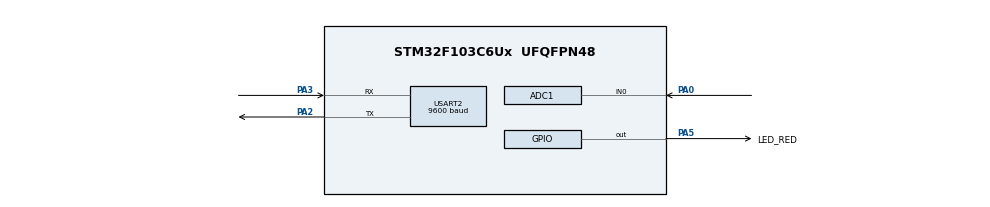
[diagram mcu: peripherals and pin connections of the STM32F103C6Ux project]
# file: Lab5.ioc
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ADC1.Channel-0\#ChannelRegularConversion=ADC_CHANNEL_0
ADC1.ContinuousConvMode=ENABLE
ADC1.NbrOfConversionFlag=1
ADC1.Rank-0\#ChannelRegularConversion=1
ADC1.SamplingTime-0\#ChannelRegularConversion=ADC_SAMPLETIME_1CYCLE_5
ADC1.master=1
Mcu.Family=STM32F1
Mcu.Name=STM32F103C6Ux
Mcu.Package=UFQFPN48
NVIC.PriorityGroup=NVIC_PRIORITYGROUP_4
NVIC.TIM2_IRQn=true\:0\:0\:false\:false\:true\:true\:true
NVIC.USART2_IRQn=true\:0\:0\:false\:false\:true\:true\:true
PA0-WKUP.Signal=ADCx_IN0
PA2.Mode=Asynchronous
PA2.Signal=USART2_TX
PA3.Mode=Asynchronous
PA3.Signal=USART2_RX
PA5.GPIO_Label=LED_RED
PA5.Signal=GPIO_Output
ProjectManager.HeapSize=0x200
ProjectManager.StackSize=0x400
ProjectManager.TargetToolchain=STM32CubeIDE
RCC.APB1Freq_Value=8000000
RCC.APB2Freq_Value=8000000
SH.ADCx_IN0.0=ADC1_IN0,IN0
TIM2.Period=9
TIM2.Prescaler=7999
USART2.BaudRate=9600
USART2.VirtualMode=VM_ASYNC
VP_SYS_VS_ND.Mode=No_Debug
VP_TIM2_VS_ClockSourceINT.Mode=Internal
board=custom

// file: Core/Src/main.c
/* USER CODE BEGIN Header */
/**
  ******************************************************************************
  * @file           : main.c
  * @brief          : Main program body
  ******************************************************************************
  * @attention
  *
  * <h2><center>&copy; Copyright (c) 2024 STMicroelectronics.
  * All rights reserved.</center></h2>
  *
  * This software component is licensed by ST under BSD 3-Clause license,
  * the "License"; You may not use this file except in compliance with the
  * License. You may obtain a copy of the License at:
  *                        opensource.org/licenses/BSD-3-Clause
  *
  ******************************************************************************
  */
/* USER CODE END Header */
#include "main.h"

/* USER CODE BEGIN Includes */
#include "global.h"
#include "command_parser_fsm.h"
#include "uart_communication_fsm.h"
#include "software_timer.h"
/* USER CODE END Includes */

ADC_HandleTypeDef hadc1;

TIM_HandleTypeDef htim2;

UART_HandleTypeDef huart2;

void SystemClock_Config(void);
static void MX_GPIO_Init(void);
static void MX_ADC1_Init(void);
static void MX_USART2_UART_Init(void);
static void MX_TIM2_Init(void);

int main(void)
{

  /* MCU Configuration--------------------------------------------------------*/

  /* Reset of all peripherals, Initializes the Flash interface and the Systick. */
  HAL_Init();

  /* Configure the system clock */
  SystemClock_Config();

  /* Initialize all configured peripherals */
  MX_GPIO_Init();
  MX_ADC1_Init();
  MX_USART2_UART_Init();
  MX_TIM2_Init();
  /* USER CODE BEGIN 2 */
  system_init();
  HAL_TIM_Base_Start_IT(&htim2);
  HAL_UART_Receive_IT (&huart2, &temp, 1);
  /* USER CODE END 2 */

  /* Infinite loop */
  /* USER CODE BEGIN WHILE */
  while (1)
  {
	  if(buffer_flag == 1){
		  		  command_parse_fsm();
		  		  buffer_flag = 0;
		  	  }
		  	  uart_communication_fsm();
  }
    /* USER CODE END WHILE */

}

void SystemClock_Config(void)
{
  RCC_OscInitTypeDef RCC_OscInitStruct = {0};
  RCC_ClkInitTypeDef RCC_ClkInitStruct = {0};
  RCC_PeriphCLKInitTypeDef PeriphClkInit = {0};

  /** Initializes the RCC Oscillators according to the specified parameters
  * in the RCC_OscInitTypeDef structure.
  */
  RCC_OscInitStruct.OscillatorType = RCC_OSCILLATORTYPE_HSI;
  RCC_OscInitStruct.HSIState = RCC_HSI_ON;
  RCC_OscInitStruct.HSICalibrationValue = RCC_HSICALIBRATION_DEFAULT;
  RCC_OscInitStruct.PLL.PLLState = RCC_PLL_NONE;
  if (HAL_RCC_OscConfig(&RCC_OscInitStruct) != HAL_OK)
  {
    Error_Handler();
  }
  /** Initializes the CPU, AHB and APB buses clocks
  */
  RCC_ClkInitStruct.ClockType = RCC_CLOCKTYPE_HCLK|RCC_CLOCKTYPE_SYSCLK
                              |RCC_CLOCKTYPE_PCLK1|RCC_CLOCKTYPE_PCLK2;
  RCC_ClkInitStruct.SYSCLKSource = RCC_SYSCLKSOURCE_HSI;
  RCC_ClkInitStruct.AHBCLKDivider = RCC_SYSCLK_DIV1;
  RCC_ClkInitStruct.APB1CLKDivider = RCC_HCLK_DIV1;
  RCC_ClkInitStruct.APB2CLKDivider = RCC_HCLK_DIV1;

  if (HAL_RCC_ClockConfig(&RCC_ClkInitStruct, FLASH_LATENCY_0) != HAL_OK)
  {
    Error_Handler();
  }
  PeriphClkInit.PeriphClockSelection = RCC_PERIPHCLK_ADC;
  PeriphClkInit.AdcClockSelection = RCC_ADCPCLK2_DIV2;
  if (HAL_RCCEx_PeriphCLKConfig(&PeriphClkInit) != HAL_OK)
  {
    Error_Handler();
  }
}

static void MX_ADC1_Init(void)
{

  ADC_ChannelConfTypeDef sConfig = {0};

  /** Common config
  */
  hadc1.Instance = ADC1;
  hadc1.Init.ScanConvMode = ADC_SCAN_DISABLE;
  hadc1.Init.ContinuousConvMode = ENABLE;
  hadc1.Init.DiscontinuousConvMode = DISABLE;
  hadc1.Init.ExternalTrigConv = ADC_SOFTWARE_START;
  hadc1.Init.DataAlign = ADC_DATAALIGN_RIGHT;
  hadc1.Init.NbrOfConversion = 1;
  if (HAL_ADC_Init(&hadc1) != HAL_OK)
  {
    Error_Handler();
  }
  /** Configure Regular Channel
  */
  sConfig.Channel = ADC_CHANNEL_0;
  sConfig.Rank = ADC_REGULAR_RANK_1;
  sConfig.SamplingTime = ADC_SAMPLETIME_1CYCLE_5;
  if (HAL_ADC_ConfigChannel(&hadc1, &sConfig) != HAL_OK)
  {
    Error_Handler();
  }

}

static void MX_TIM2_Init(void)
{

  TIM_ClockConfigTypeDef sClockSourceConfig = {0};
  TIM_MasterConfigTypeDef sMasterConfig = {0};

  htim2.Instance = TIM2;
  htim2.Init.Prescaler = 7999;
  htim2.Init.CounterMode = TIM_COUNTERMODE_UP;
  htim2.Init.Period = 9;
  htim2.Init.ClockDivision = TIM_CLOCKDIVISION_DIV1;
  htim2.Init.AutoReloadPreload = TIM_AUTORELOAD_PRELOAD_DISABLE;
  if (HAL_TIM_Base_Init(&htim2) != HAL_OK)
  {
    Error_Handler();
  }
  sClockSourceConfig.ClockSource = TIM_CLOCKSOURCE_INTERNAL;
  if (HAL_TIM_ConfigClockSource(&htim2, &sClockSourceConfig) != HAL_OK)
  {
    Error_Handler();
  }
  sMasterConfig.MasterOutputTrigger = TIM_TRGO_RESET;
  sMasterConfig.MasterSlaveMode = TIM_MASTERSLAVEMODE_DISABLE;
  if (HAL_TIMEx_MasterConfigSynchronization(&htim2, &sMasterConfig) != HAL_OK)
  {
    Error_Handler();
  }

}

static void MX_USART2_UART_Init(void)
{

  huart2.Instance = USART2;
  huart2.Init.BaudRate = 9600;
  huart2.Init.WordLength = UART_WORDLENGTH_8B;
  huart2.Init.StopBits = UART_STOPBITS_1;
  huart2.Init.Parity = UART_PARITY_NONE;
  huart2.Init.Mode = UART_MODE_TX_RX;
  huart2.Init.HwFlowCtl = UART_HWCONTROL_NONE;
  huart2.Init.OverSampling = UART_OVERSAMPLING_16;
  if (HAL_UART_Init(&huart2) != HAL_OK)
  {
    Error_Handler();
  }

}

static void MX_GPIO_Init(void)
{
  GPIO_InitTypeDef GPIO_InitStruct = {0};

  /* GPIO Ports Clock Enable */
  __HAL_RCC_GPIOA_CLK_ENABLE();

  /*Configure GPIO pin Output Level */
  HAL_GPIO_WritePin(LED_RED_GPIO_Port, LED_RED_Pin, GPIO_PIN_RESET);

  /*Configure GPIO pin : LED_RED_Pin */
  GPIO_InitStruct.Pin = LED_RED_Pin;
  GPIO_InitStruct.Mode = GPIO_MODE_OUTPUT_PP;
  GPIO_InitStruct.Pull = GPIO_NOPULL;
  GPIO_InitStruct.Speed = GPIO_SPEED_FREQ_LOW;
  HAL_GPIO_Init(LED_RED_GPIO_Port, &GPIO_InitStruct);

}

/* USER CODE BEGIN 4 */
void HAL_TIM_PeriodElapsedCallback(TIM_HandleTypeDef *htim)
{
	timerRun();
}

void HAL_UART_RxCpltCallback(UART_HandleTypeDef * huart){
	if(huart -> Instance == USART2){
//		HAL_UART_Transmit(&huart2 , &temp, 1, 50);
		buffer[index_buffer++] = temp;
		if(index_buffer == MAX_BUFFER_SIZE) index_buffer = 0;
		buffer_flag = 1;
		HAL_UART_Receive_IT(&huart2 , &temp, 1);
	}
}
/* USER CODE END 4 */

void Error_Handler(void)
{
  __disable_irq();
  while (1)
  {
  }
}

/************************ (C) COPYRIGHT STMicroelectronics *****END OF FILE****/
